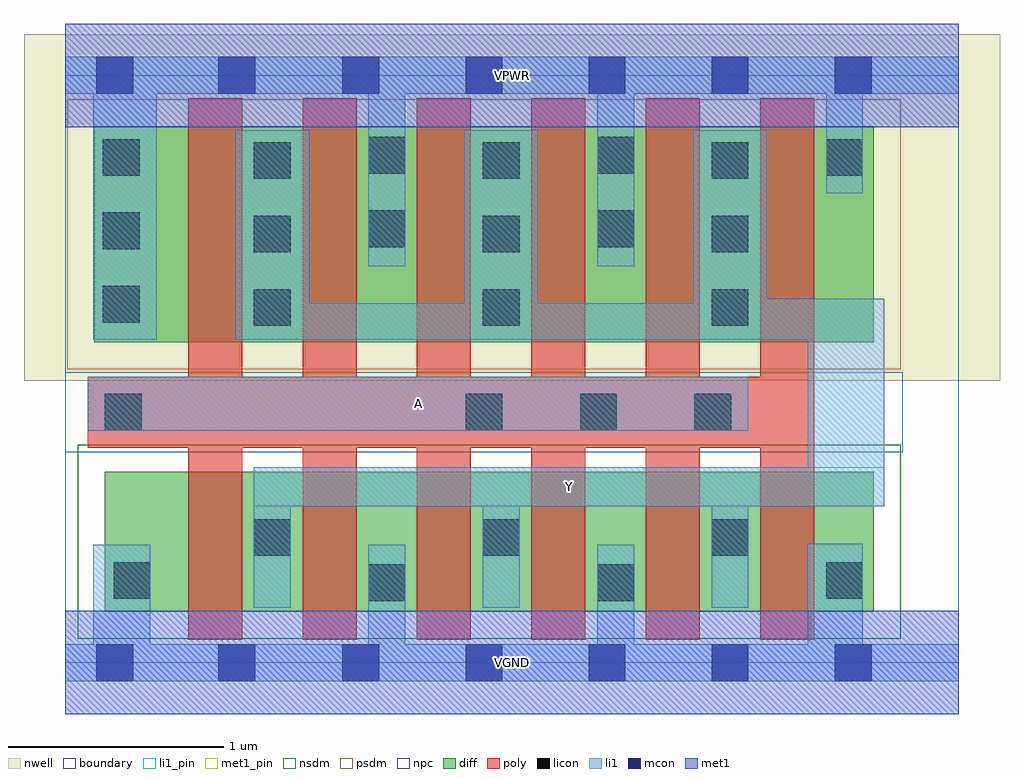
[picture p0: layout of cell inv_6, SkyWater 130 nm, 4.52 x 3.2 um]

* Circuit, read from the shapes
.subckt inv_6 A VGND VPWR Y
XM1 Y A VGND VSUBS sky130_fd_pr__nfet_01v8 w=0.65 l=0.25 m=6
XM2 Y A VPWR n1 sky130_fd_pr__pfet_01v8 w=1 l=0.25 m=6
.ends

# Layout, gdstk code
import gdstk
lib = gdstk.Library(unit=1e-6, precision=1e-09)
def R(c, l, rs):  # rectangles x0, y0, x1, y1
    for r in rs: c.add(gdstk.rectangle(r[:2], r[2:], *l))
def A(c, l, x, y, w, h, nx, ny, dx, dy):  # array of equal rectangles
    R(c, l, [(x+i*dx, y+j*dy, x+i*dx+w, y+j*dy+h) for i in range(nx) for j in range(ny)])
nwell = (64, 20)
diff = (65, 20)
poly = (66, 20)
licon = (66, 44)
li1_pin = (67, 16)
li1 = (67, 20)
mcon = (67, 44)
met1_pin = (68, 16)
met1 = (68, 20)
nsdm = (93, 44)
psdm = (94, 20)
npc = (95, 20)
boundary = (235, 4)

inv_6 = lib.new_cell('inv_6')
R(inv_6, nwell, [(-0.19,1.305,4.33,2.91), (0,1.305,4.14,2.91)])
R(inv_6, diff, [(0.185,0.235,3.745,0.885), (0.135,1.485,3.745,2.485)])
A(inv_6, poly, 0.57, 0.105, 0.25, 2.51, 6, 1, 0.53, 0)
R(inv_6, poly, [(0.105,0.995,3.47,1.325)])
A(inv_6, licon, 0.875, 0.495, 0.17, 0.17, 3, 2, 1.06, 1.065)
A(inv_6, licon, 1.855, 1.075, 0.17, 0.17, 3, 1, 0.53, 0)
A(inv_6, licon, 0.175, 1.575, 0.17, 0.17, 1, 3, 0, 0.34)
A(inv_6, licon, 0.875, 1.9, 0.17, 0.17, 3, 2, 1.06, 0.34)
R(inv_6, licon, [(1.405,0.285,1.575,0.455), (2.465,0.285,2.635,0.455), (0.225,0.295,0.395,0.465), (3.525,0.295,3.695,0.465), (0.185,1.075,0.355,1.245), (1.405,1.925,1.575,2.095), (2.465,1.925,2.635,2.095), (3.525,2.255,3.695,2.425), (1.405,2.265,1.575,2.435), (2.465,2.265,2.635,2.435)])
R(inv_6, li1_pin, [(0.875,0.725,3.795,0.905), (0.105,1.075,3.165,1.325)])
A(inv_6, li1, 0.875, 0.255, 0.17, 0.65, 3, 1, 1.06, 0)
A(inv_6, li1, 0.79, 1.495, 0.34, 0.97, 3, 1, 1.06, 0)
R(inv_6, li1, [(0,-0.085,4.14,0.085), (0.13,-0.085,0.395,0.545), (1.405,-0.085,1.575,0.545), (2.465,-0.085,2.635,0.545), (3.44,-0.085,3.695,0.55), (0.875,0.725,3.795,0.905), (3.44,0.725,3.795,1.685), (0.105,1.075,3.165,1.325), (0.13,1.495,0.425,2.805), (0.79,1.495,3.795,1.665), (2.91,1.495,3.795,1.685), (1.405,1.835,1.575,2.805), (2.465,1.835,2.635,2.805), (3.525,2.175,3.695,2.805), (0,2.635,4.14,2.805)])
A(inv_6, mcon, 1.285, -0.085, 0.17, 0.17, 5, 2, 0.57, 2.72)
R(inv_6, mcon, [(0.145,-0.085,0.315,0.085), (0.71,-0.085,0.88,0.085), (0.145,2.635,0.315,2.805), (0.71,2.635,0.88,2.805)])
R(inv_6, met1_pin, [(0,-0.24,4.14,0.24), (0,2.48,4.14,2.96)])
R(inv_6, met1, [(0,-0.24,4.14,0.24), (0,2.48,4.14,2.96)])
R(inv_6, nsdm, [(0.06,0.11,3.87,1.01)])
R(inv_6, psdm, [(0.01,1.36,3.87,2.61)])
R(inv_6, npc, [(0,0.975,3.88,1.345)])
R(inv_6, boundary, [(0,0,4.14,2.72)])
inv_6.add(gdstk.Label('A', (1.635,1.2), layer=67, texttype=5))
inv_6.add(gdstk.Label('Y', (2.335,0.815), layer=67, texttype=5))
inv_6.add(gdstk.Label('VPWR', (2.07,2.72), layer=68, texttype=5))
inv_6.add(gdstk.Label('VGND', (2.07,0), layer=68, texttype=5))
inv_6.add(gdstk.Label('A', (1.635,1.2), layer=67, texttype=16))
inv_6.add(gdstk.Label('Y', (2.335,0.815), layer=67, texttype=16))
inv_6.add(gdstk.Label('VPWR', (2.07,2.72), layer=68, texttype=16))
inv_6.add(gdstk.Label('VGND', (2.07,0), layer=68, texttype=16))

lib.write_gds('inv_6.gds')
